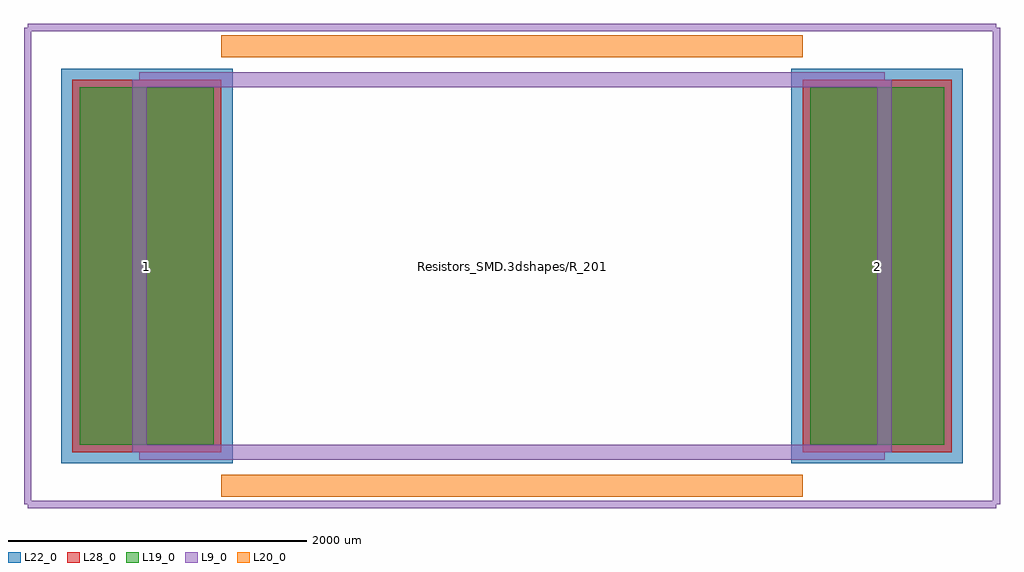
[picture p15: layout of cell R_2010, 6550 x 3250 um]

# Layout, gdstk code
import gdstk
lib = gdstk.Library(unit=1e-6, precision=1e-09)
def R(c, l, rs):  # rectangles x0, y0, x1, y1
    for r in rs: c.add(gdstk.rectangle(r[:2], r[2:], *l))
L9_0 = (9, 0)
L19_0 = (19, 0)
L20_0 = (20, 0)
L22_0 = (22, 0)
L28_0 = (28, 0)

r_2010 = lib.new_cell('R_2010')
R(r_2010, L19_0, [(-2900,-1200,-2000,1200), (2000,-1200,2900,1200)])
R(r_2010, L22_0, [(-3025,-1325,-1875,1325), (1875,-1325,3025,1325)])
R(r_2010, L28_0, [(-2950,-1250,-1950,1250), (1950,-1250,2950,1250)])
r_2010.add(gdstk.FlexPath([(-1950,1475),(1950,1475)], 149.998, ends="flush", simple_path=True, layer=20, datatype=0))  # L20_0
r_2010.add(gdstk.FlexPath([(1950,-1475),(-1950,-1475)], 149.998, ends="flush", simple_path=True, layer=20, datatype=0))  # L20_0
r_2010.add(gdstk.FlexPath([(3250,1600),(3250,-1600)], 50, ends="flush", simple_path=True, layer=9, datatype=0))  # L9_0
r_2010.add(gdstk.FlexPath([(-3250,1600),(-3250,-1600)], 50, ends="flush", simple_path=True, layer=9, datatype=0))  # L9_0
r_2010.add(gdstk.FlexPath([(-3250,-1600),(3250,-1600)], 50, ends="flush", simple_path=True, layer=9, datatype=0))  # L9_0
r_2010.add(gdstk.FlexPath([(-3250,1600),(3250,1600)], 50, ends="flush", simple_path=True, layer=9, datatype=0))  # L9_0
r_2010.add(gdstk.FlexPath([(-2500,1250),(2500,1250)], 100, ends="flush", simple_path=True, layer=9, datatype=0))  # L9_0
r_2010.add(gdstk.FlexPath([(2500,1250),(2500,-1250)], 100, ends="flush", simple_path=True, layer=9, datatype=0))  # L9_0
r_2010.add(gdstk.FlexPath([(2500,-1250),(-2500,-1250)], 100, ends="flush", simple_path=True, layer=9, datatype=0))  # L9_0
r_2010.add(gdstk.FlexPath([(-2500,-1250),(-2500,1250)], 100, ends="flush", simple_path=True, layer=9, datatype=0))  # L9_0
r_2010.add(gdstk.Label('Resistors_SMD.3dshapes/R_2010.wrl', (0,0), layer=12, texttype=0))
r_2010.add(gdstk.Label('2', (2450,0), layer=28, texttype=0))
r_2010.add(gdstk.Label('1', (-2450,0), layer=28, texttype=0))
r_2010.add(gdstk.Label('type', (0,-2700), layer=9, texttype=0))
r_2010.add(gdstk.Label('devicename', (0,2700), layer=9, texttype=0))

lib.write_gds('R_2010.gds')
